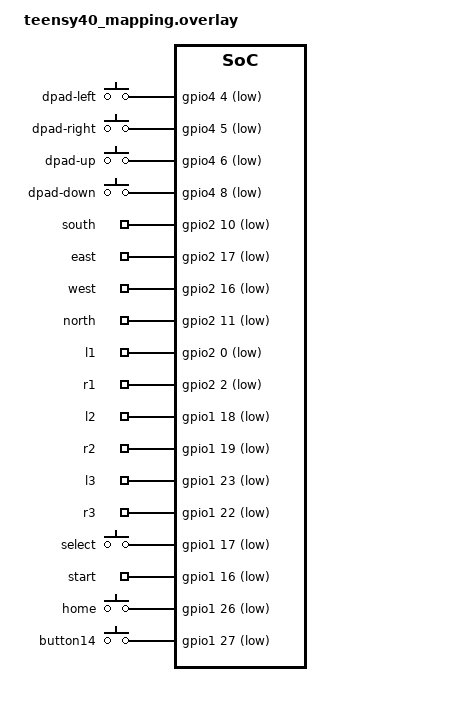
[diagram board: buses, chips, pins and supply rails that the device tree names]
/ {
    gamepad-buttons {
        compatible = "gpio-keys";
        dpad-left { gpios = <&gpio4 4 (GPIO_PULL_UP | GPIO_ACTIVE_LOW)>; };
        dpad-right { gpios = <&gpio4 5 (GPIO_PULL_UP | GPIO_ACTIVE_LOW)>; };
        dpad-up { gpios = <&gpio4 6 (GPIO_PULL_UP | GPIO_ACTIVE_LOW)>; };
        dpad-down { gpios = <&gpio4 8 (GPIO_PULL_UP | GPIO_ACTIVE_LOW)>; };
        south { gpios = <&gpio2 10 (GPIO_PULL_UP | GPIO_ACTIVE_LOW)>; };
        east { gpios = <&gpio2 17 (GPIO_PULL_UP | GPIO_ACTIVE_LOW)>; };
        west { gpios = <&gpio2 16 (GPIO_PULL_UP | GPIO_ACTIVE_LOW)>; };
        north { gpios = <&gpio2 11 (GPIO_PULL_UP | GPIO_ACTIVE_LOW)>; };
        l1 { gpios = <&gpio2 0 (GPIO_PULL_UP | GPIO_ACTIVE_LOW)>; };
        r1 { gpios = <&gpio2 2 (GPIO_PULL_UP | GPIO_ACTIVE_LOW)>; };
        l2 { gpios = <&gpio1 18 (GPIO_PULL_UP | GPIO_ACTIVE_LOW)>; };
        r2 { gpios = <&gpio1 19 (GPIO_PULL_UP | GPIO_ACTIVE_LOW)>; };
        l3 { gpios = <&gpio1 23 (GPIO_PULL_UP | GPIO_ACTIVE_LOW)>; };
        r3 { gpios = <&gpio1 22 (GPIO_PULL_UP | GPIO_ACTIVE_LOW)>; };
        select { gpios = <&gpio1 17 (GPIO_PULL_UP | GPIO_ACTIVE_LOW)>; };
        start { gpios = <&gpio1 16 (GPIO_PULL_UP | GPIO_ACTIVE_LOW)>; };
        home { gpios = <&gpio1 26 (GPIO_PULL_UP | GPIO_ACTIVE_LOW)>; };
        button14 { gpios = <&gpio1 27 (GPIO_PULL_UP | GPIO_ACTIVE_LOW)>; };
    };

    aliases {
        sys-button = "/gamepad-buttons/start";
    };
};
